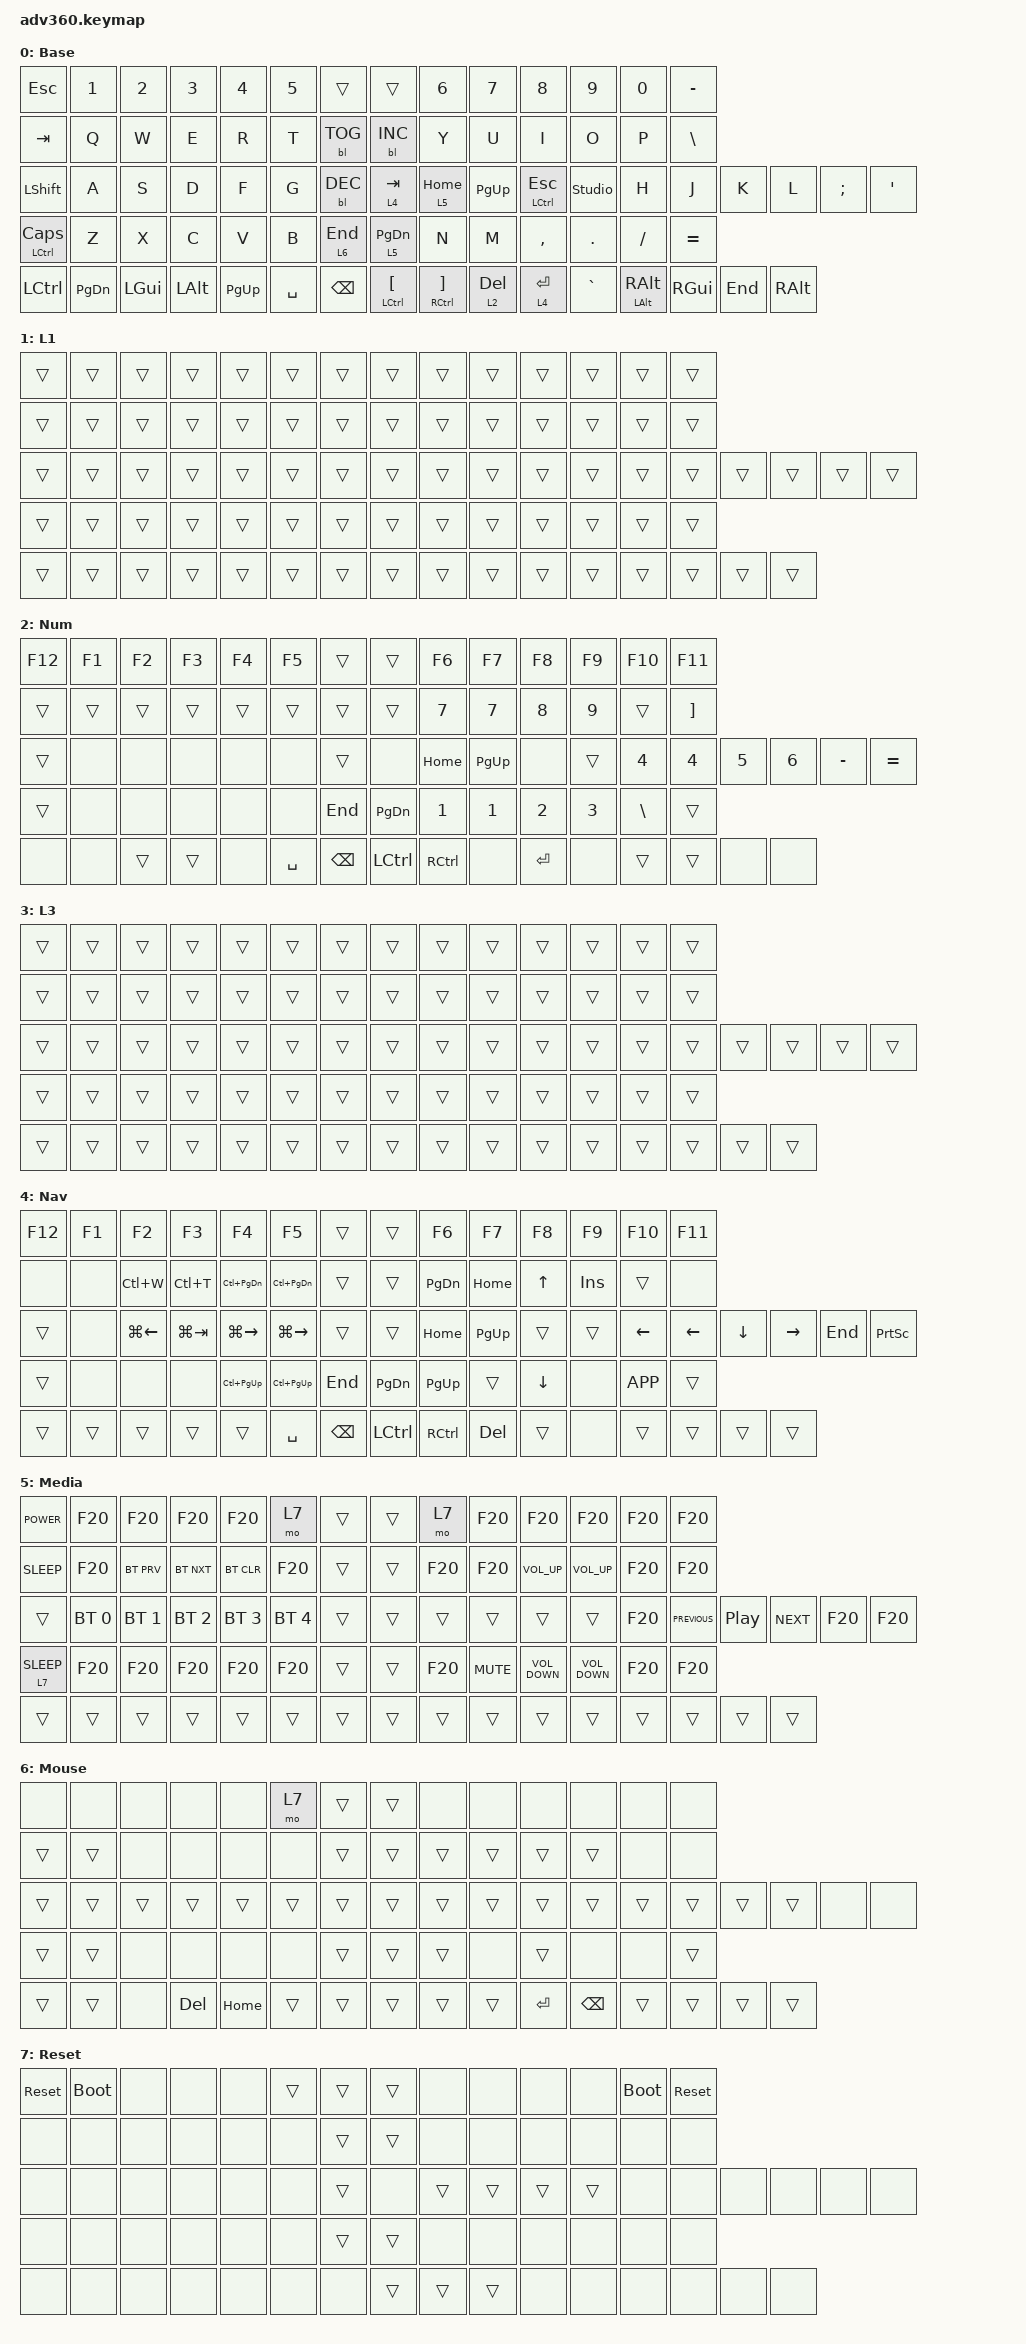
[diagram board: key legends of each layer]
#include <behaviors.dtsi>
#include <dt-bindings/zmk/keys.h>
#include <dt-bindings/zmk/bt.h>
#include <dt-bindings/zmk/rgb.h>
#include <dt-bindings/zmk/backlight.h>

/ {
    keymap {
        compatible = "zmk,keymap";

        layer_0 {
            display-name = "Base";
            bindings = <
        &kp ESC &kp N1 &kp N2 &kp N3 &kp N4 &kp N5 &trans &trans &kp N6 &kp N7 &kp N8 &kp N9 &kp N0 &kp MINUS
        &kp TAB &kp Q &kp W &kp E &kp R &kp T &bl BL_TOG &bl BL_INC &kp Y &kp U &kp I &kp O &kp P &kp BACKSLASH
        &kp LEFT_SHIFT &kp A &kp S &kp D &kp F &kp G &bl BL_DEC &lt 4 TAB &lt 5 HOME &kp PAGE_UP &mt LEFT_CONTROL ESCAPE &studio_unlock &kp H &kp J &kp K &kp L &kp SEMICOLON &kp SINGLE_QUOTE
        &mt LEFT_CONTROL CAPSLOCK &kp Z &kp X &kp C &kp V &kp B &lt 6 END &lt 5 PAGE_DOWN &kp N &kp M &kp COMMA &kp DOT &kp SLASH &kp EQUAL
        &kp LEFT_CONTROL &kp PAGE_DOWN &kp LEFT_GUI &kp LEFT_ALT &kp PAGE_UP &kp SPACE &kp BACKSPACE &mt LEFT_CONTROL LEFT_BRACKET &mt RIGHT_CONTROL RIGHT_BRACKET &lt 2 DELETE &lt 4 ENTER &kp GRAVE &mt LEFT_ALT RIGHT_ALT &kp RIGHT_GUI &kp END &kp RIGHT_ALT
            >;
        };

        layer_1 {
            display-name = "L1";
            bindings = <
        &trans &trans &trans &trans &trans &trans &trans &trans &trans &trans &trans &trans &trans &trans
        &trans &trans &trans &trans &trans &trans &trans &trans &trans &trans &trans &trans &trans &trans
        &trans &trans &trans &trans &trans &trans &trans &trans &trans &trans &trans &trans &trans &trans &trans &trans &trans &trans
        &trans &trans &trans &trans &trans &trans &trans &trans &trans &trans &trans &trans &trans &trans
        &trans &trans &trans &trans &trans &trans &trans &trans &trans &trans &trans &trans &trans &trans &trans &trans
            >;
        };

        layer_2 {
            display-name = "Num";
            bindings = <
        &kp F12 &kp F1 &kp F2 &kp F3 &kp F4 &kp F5 &trans &trans &kp F6 &kp F7 &kp F8 &kp F9 &kp F10 &kp F11
        &trans &trans &trans &trans &trans &trans &trans &trans &kp N7 &kp N7 &kp N8 &kp N9 &trans &kp RIGHT_BRACKET
        &trans &none &none &none &none &none &trans &none &kp HOME &kp PAGE_UP &none &trans &kp N4 &kp N4 &kp N5 &kp N6 &kp MINUS &kp EQUAL
        &trans &none &none &none &none &none &kp END &kp PAGE_DOWN &kp N1 &kp N1 &kp N2 &kp N3 &kp BACKSLASH &trans
        &none &none &trans &trans &none &kp SPACE &kp BACKSPACE &kp LEFT_CONTROL &kp RIGHT_CONTROL &none &kp ENTER &none &trans &trans &none &none
            >;
        };

        layer_3 {
            display-name = "L3";
            bindings = <
        &trans &trans &trans &trans &trans &trans &trans &trans &trans &trans &trans &trans &trans &trans
        &trans &trans &trans &trans &trans &trans &trans &trans &trans &trans &trans &trans &trans &trans
        &trans &trans &trans &trans &trans &trans &trans &trans &trans &trans &trans &trans &trans &trans &trans &trans &trans &trans
        &trans &trans &trans &trans &trans &trans &trans &trans &trans &trans &trans &trans &trans &trans
        &trans &trans &trans &trans &trans &trans &trans &trans &trans &trans &trans &trans &trans &trans &trans &trans
            >;
        };

        layer_4 {
            display-name = "Nav";
            bindings = <
        &kp F12 &kp F1 &kp F2 &kp F3 &kp F4 &kp F5 &trans &trans &kp F6 &kp F7 &kp F8 &kp F9 &kp F10 &kp F11
        &none &none &kp LC(W) &kp LC(T) &kp LC(PAGE_DOWN) &kp LC(PAGE_DOWN) &trans &trans &kp PAGE_DOWN &kp HOME &kp UP &kp INSERT &trans &none
        &trans &none &kp LG(LEFT) &kp LG(TAB) &kp LG(RIGHT) &kp LG(RIGHT) &trans &trans &kp HOME &kp PAGE_UP &trans &trans &kp LEFT &kp LEFT &kp DOWN &kp RIGHT &kp END &kp PRINTSCREEN
        &trans &none &none &none &kp LC(PAGE_UP) &kp LC(PAGE_UP) &kp END &kp PAGE_DOWN &kp PAGE_UP &trans &kp DOWN &none &kp K_APP &trans
        &trans &trans &trans &trans &trans &kp SPACE &kp BACKSPACE &kp LEFT_CONTROL &kp RIGHT_CONTROL &kp DELETE &trans &none &trans &trans &trans &trans
            >;
        };

        layer_5 {
            display-name = "Media";
            bindings = <
        &kp K_POWER &kp F20 &kp F20 &kp F20 &kp F20 &mo 7 &trans &trans &mo 7 &kp F20 &kp F20 &kp F20 &kp F20 &kp F20
        &kp K_SLEEP &kp F20 &bt BT_PRV &bt BT_NXT &bt BT_CLR &kp F20 &trans &trans &kp F20 &kp F20 &kp C_VOLUME_UP &kp C_VOLUME_UP &kp F20 &kp F20
        &trans &bt BT_SEL 0 &bt BT_SEL 1 &bt BT_SEL 2 &bt BT_SEL 3 &bt BT_SEL 4 &trans &trans &trans &trans &trans &trans &kp F20 &kp C_PREVIOUS &kp C_PLAY_PAUSE &kp C_NEXT &kp F20 &kp F20
        &lt 7 K_SLEEP &kp F20 &kp F20 &kp F20 &kp F20 &kp F20 &trans &trans &kp F20 &kp C_MUTE &kp C_VOLUME_DOWN &kp C_VOLUME_DOWN &kp F20 &kp F20
        &trans &trans &trans &trans &trans &trans &trans &trans &trans &trans &trans &trans &trans &trans &trans &trans
            >;
        };

        layer_6 {
            display-name = "Mouse";
            bindings = <
        &none &none &none &none &none &mo 7 &trans &trans &none &none &none &none &none &none
        &trans &trans &none &none &none &none &trans &trans &trans &trans &trans &trans &none &none
        &trans &trans &trans &trans &trans &trans &trans &trans &trans &trans &trans &trans &trans &trans &trans &trans &none &none
        &trans &trans &none &none &none &none &trans &trans &trans &none &trans &none &none &trans
        &trans &trans &none &kp DELETE &kp HOME &trans &trans &trans &trans &trans &kp ENTER &kp BACKSPACE &trans &trans &trans &trans
            >;
        };

        layer_7 {
            display-name = "Reset";
            bindings = <
        &sys_reset &bootloader &none &none &none &trans &trans &trans &none &none &none &none &bootloader &sys_reset
        &none &none &none &none &none &none &trans &trans &none &none &none &none &none &none
        &none &none &none &none &none &none &trans &none &trans &trans &trans &trans &none &none &none &none &none &none
        &none &none &none &none &none &none &trans &trans &none &none &none &none &none &none
        &none &none &none &none &none &none &none &trans &trans &trans &none &none &none &none &none &none
            >;
        };
    };
};
